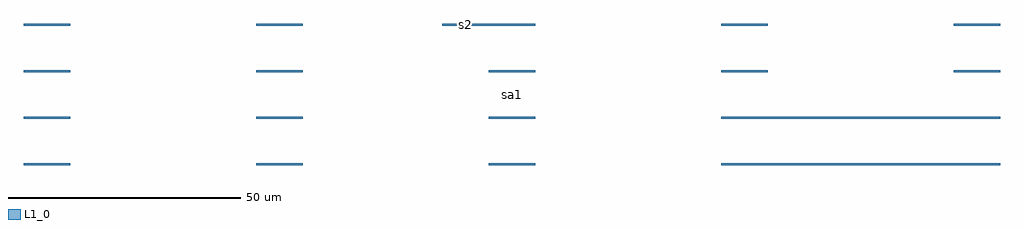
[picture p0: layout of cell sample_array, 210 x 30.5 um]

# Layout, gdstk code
import gdstk
lib = gdstk.Library(unit=1e-6, precision=1e-09)
def R(c, l, rs):  # rectangles x0, y0, x1, y1
    for r in rs: c.add(gdstk.rectangle(r[:2], r[2:], *l))
L1_0 = (1, 0)

straight_gdsfactorypcomp = lib.new_cell('straight_gdsfactorypcomponentspwaveguidespstraight_L10__f2286423')
R(straight_gdsfactorypcomp, L1_0, [(0,-0.25,10,0.25)])

c_straight_gdsfactorypcomp = lib.new_cell('straight_gdsfactorypcomponentspwaveguidespstraight_L40__6a25f6ed')
R(c_straight_gdsfactorypcomp, L1_0, [(0,-0.25,40,0.25)])

sample_array = lib.new_cell('sample_array')
r = gdstk.Reference(straight_gdsfactorypcomp, (0,0)); r.repetition = gdstk.Repetition(5, 4, v1=(50,0), v2=(0,10)); sample_array.add(r)
sample_array.add(gdstk.Reference(straight_gdsfactorypcomp, (90,30)))
sample_array.add(gdstk.Reference(c_straight_gdsfactorypcomp, (160,0)))
sample_array.add(gdstk.Reference(c_straight_gdsfactorypcomp, (160,10)))
sample_array.add(gdstk.Label('sa1', (105,15), layer=206, texttype=0))
sample_array.add(gdstk.Label('s2', (95,30), layer=206, texttype=0))

lib.write_gds('sample_array.gds')
